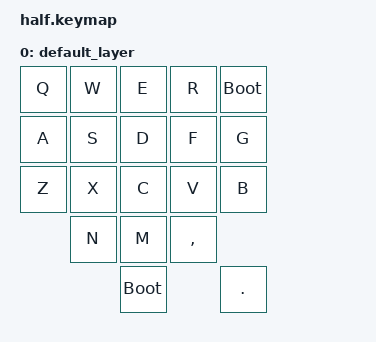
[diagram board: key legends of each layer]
// This file was generated from a template. Edit it to match your keyboard.
// See https://zmk.dev/docs/development/hardware-integration/new-shield for more instructions.

#include <behaviors.dtsi>
#include <dt-bindings/zmk/keys.h>

/ {

    // Define a default keymap here.
    // See https://zmk.dev/docs/development/hardware-integration/new-shield#default-keymap.
keymap {
    compatible = "zmk,keymap";

    default_layer {
        bindings = <
            &kp Q &kp W &kp E &kp R &bootloader
            &kp A &kp S &kp D &kp F &kp G
            &kp Z &kp X &kp C &kp V &kp B
                  &kp N &kp M &kp COMMA
                        &bootloader &kp DOT 
        >;
    };
};
};
